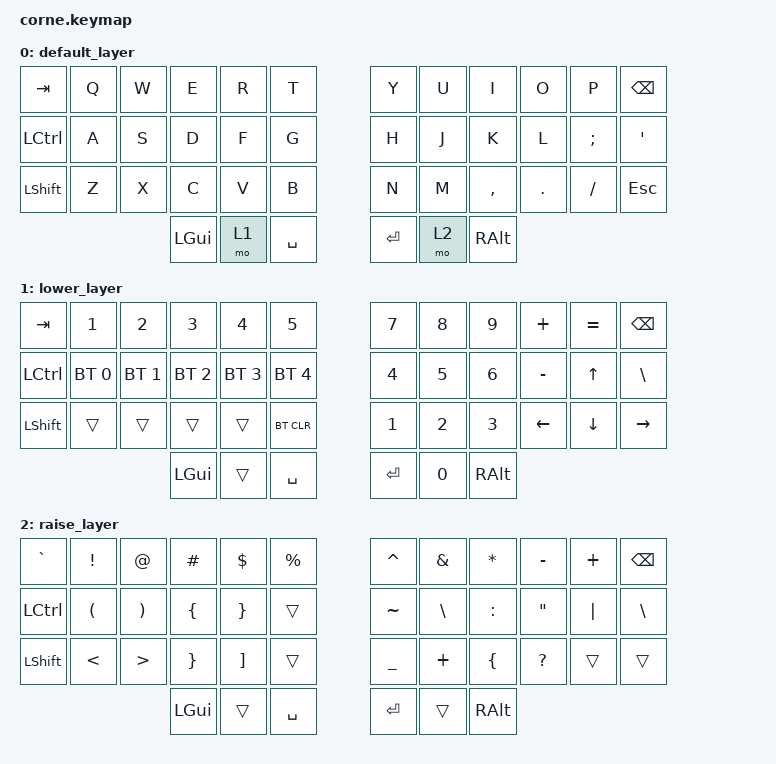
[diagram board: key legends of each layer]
/*
 * Copyright (c) 2020 The ZMK Contributors
 *
 * SPDX-License-Identifier: MIT
 */

#include <behaviors.dtsi>
#include <dt-bindings/zmk/bt.h>
#include <dt-bindings/zmk/keys.h>

/ {
    keymap {
        compatible = "zmk,keymap";

        default_layer {
            // -----------------------------------------------------------------------------------------
            // |  TAB |  Q  |  W  |  E  |  R  |  T  |   |  Y  |  U   |  I  |  O  |  P  | BSPC |
            // | CTRL |  A  |  S  |  D  |  F  |  G  |   |  H  |  J   |  K  |  L  |  ;  |  '   |
            // | SHFT |  Z  |  X  |  C  |  V  |  B  |   |  N  |  M   |  ,  |  .  |  /  | ESC  |
            //                    | GUI | LWR | SPC |   | ENT | RSE  | ALT |

            bindings = <
&kp TAB    &kp Q  &kp W  &kp E     &kp R  &kp T        &kp Y    &kp U  &kp I      &kp O    &kp P     &kp BSPC
&kp LCTRL  &kp A  &kp S  &kp D     &kp F  &kp G        &kp H    &kp J  &kp K      &kp L    &kp SEMI  &kp SQT
&kp LSHFT  &kp Z  &kp X  &kp C     &kp V  &kp B        &kp N    &kp M  &kp COMMA  &kp DOT  &kp FSLH  &kp ESC
                         &kp LGUI  &mo 1  &kp SPACE    &kp RET  &mo 2  &kp RALT
            >;
        };

        lower_layer {
            // -----------------------------------------------------------------------------------------
            // |  TAB |  1  |  2  |  3  |  4  |  5  |   |  6  |  7  |  8  |  9  |  0  | BSPC |
            // | BTCLR| BT1 | BT2 | BT3 | BT4 | BT5 |   | LFT | DWN |  UP | RGT |     |      |
            // | SHFT |     |     |     |     |     |   |     |     |     |     |     |      |
            //                    | GUI |     | SPC |   | ENT |     | ALT |

            bindings = <
&kp TAB           &kp N1        &kp N2        &kp N3        &kp N4        &kp N5          &kp NUMBER_7  &kp NUMBER_8  &kp NUMBER_9  &kp PLUS   &kp EQUAL     &kp BSPC
&kp LEFT_CONTROL  &bt BT_SEL 0  &bt BT_SEL 1  &bt BT_SEL 2  &bt BT_SEL 3  &bt BT_SEL 4    &kp NUMBER_4  &kp NUMBER_5  &kp NUMBER_6  &kp MINUS  &kp UP_ARROW  &kp BACKSLASH
&kp LSHFT         &trans        &trans        &trans        &trans        &bt BT_CLR      &kp NUMBER_1  &kp NUMBER_2  &kp NUMBER_3  &kp LEFT   &kp DOWN      &kp RIGHT
                                              &kp LGUI      &trans        &kp SPACE       &kp RET       &kp NUMBER_0  &kp RALT
            >;
        };

        raise_layer {
            // -----------------------------------------------------------------------------------------
            // |  TAB |  !  |  @  |  #  |  $  |  %  |   |  ^  |  &  |  *  |  (  |  )  | BSPC |
            // | CTRL |     |     |     |     |     |   |  -  |  =  |  [  |  ]  |  \  |  `   |
            // | SHFT |     |     |     |     |     |   |  _  |  +  |  {  |  }  | "|" |  ~   |
            //                    | GUI |     | SPC |   | ENT |     | ALT |

            bindings = <
&kp GRAVE  &kp EXCL              &kp AT                 &kp HASH         &kp DLLR           &kp PRCNT    &kp CARET  &kp AMPS       &kp ASTRK  &kp MINUS          &kp PLUS  &kp BSPC
&kp LCTRL  &kp LEFT_PARENTHESIS  &kp RIGHT_PARENTHESIS  &kp LEFT_BRACE   &kp RIGHT_BRACE    &trans       &kp TILDE  &kp BACKSLASH  &kp COLON  &kp DOUBLE_QUOTES  &kp PIPE  &kp BACKSLASH
&kp LSHFT  &kp LESS_THAN         &kp GREATER_THAN       &kp RIGHT_BRACE  &kp RIGHT_BRACKET  &trans       &kp UNDER  &kp PLUS       &kp LBRC   &kp QUESTION       &trans    &trans
                                                        &kp LGUI         &trans             &kp SPACE    &kp RET    &trans         &kp RALT
            >;
        };
    };
};
